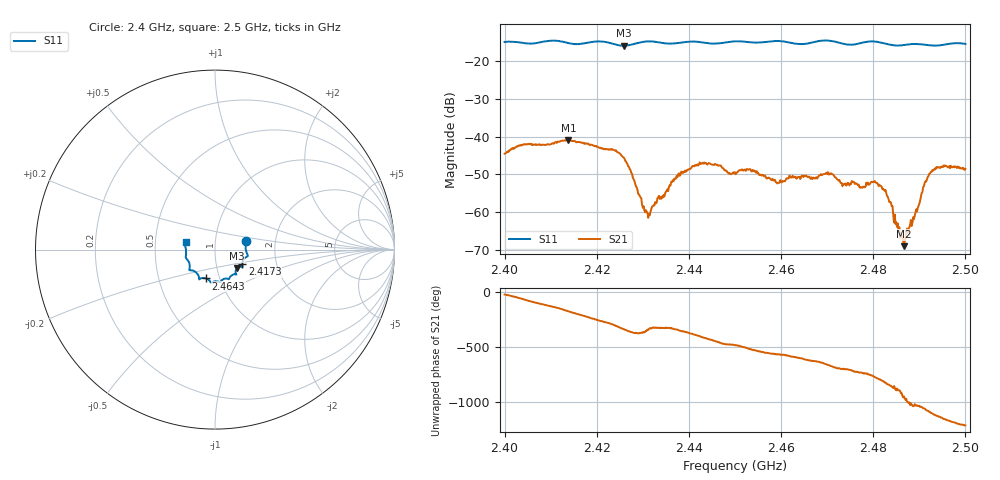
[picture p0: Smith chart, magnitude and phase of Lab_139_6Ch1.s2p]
# Hz S RI R 50
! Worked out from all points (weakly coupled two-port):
!   601 points, 2.4 GHz to 2.5 GHz, reference 50 ohm
!   highest |S21| = -40.89 dB at 2.4138 GHz (marker M1); lowest = -69.0 dB at 2.4867 GHz (marker M2)
!   lowest |S11| = -15.9 dB at 2.4258 GHz (marker M3), VSWR 1.38, Z = 62.3 - j13.3 ohm
!   |S11| at or under -10 dB: start of sweep to end of sweep
!   S12 and S22 are empty: the file has one direction only
!   S11 on the Smith chart (normalised r, x): 2.4 GHz: 1.41, +0.14; 2.4173 GHz: 1.34, -0.23; 2.4643 GHz: 0.86, -0.28; 2.5 GHz: 0.72, +0.06
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2.4e9  0.1733 0.049  0.00545 -0.00236  0 0  0 0
2.413833e9  0.1675 -0.0459  -0.009 -0.00068  0 0  0 0
2.416667e9  0.1526 -0.0743  -0.00717 0.00426  0 0  0 0
2.417333e9  0.1517 -0.0818  -0.00629 0.00499  0 0  0 0
2.425833e9  0.1217 -0.1037  0.0049 0.00193  0 0  0 0
2.430833e9  0.1188 -0.1387  0.001 0.000117  0 0  0 0
2.433333e9  0.113 -0.1373  0.00129 0.000881  0 0  0 0
2.437333e9  0.0851 -0.1506  0.00284 0.001  0 0  0 0
2.441833e9  0.0751 -0.1645  0.00347 -0.0025  0 0  0 0
2.45e9  0.029 -0.181  -0.00189 -0.0028  0 0  0 0
2.453e9  0.0172 -0.1778  -0.00332 -0.00149  0 0  0 0
2.459333e9  -0.023 -0.1835  -0.0022 0.00103  0 0  0 0
2.464333e9  -0.0499 -0.1606  -0.00138 0.00258  0 0  0 0
2.466667e9  -0.076 -0.1592  -0.000303 0.00286  0 0  0 0
2.470667e9  -0.0876 -0.1645  0.00202 0.00243  0 0  0 0
2.4775e9  -0.1311 -0.1154  0.00206 -0.000491  0 0  0 0
2.480333e9  -0.1433 -0.1122  0.00154 -0.00207  0 0  0 0
2.483333e9  -0.1407 -0.0898  -0.000766 -0.00126  0 0  0 0
2.486667e9  -0.1532 -0.0579  -0.000234 0.000264  0 0  0 0
2.4925e9  -0.1607 -0.02  0.00321 -0.00107  0 0  0 0
2.495333e9  -0.1646 0.0133  0.00123 -0.00398  0 0  0 0
2.5e9  -0.164 0.0425  -0.0025 -0.00277  0 0  0 0
